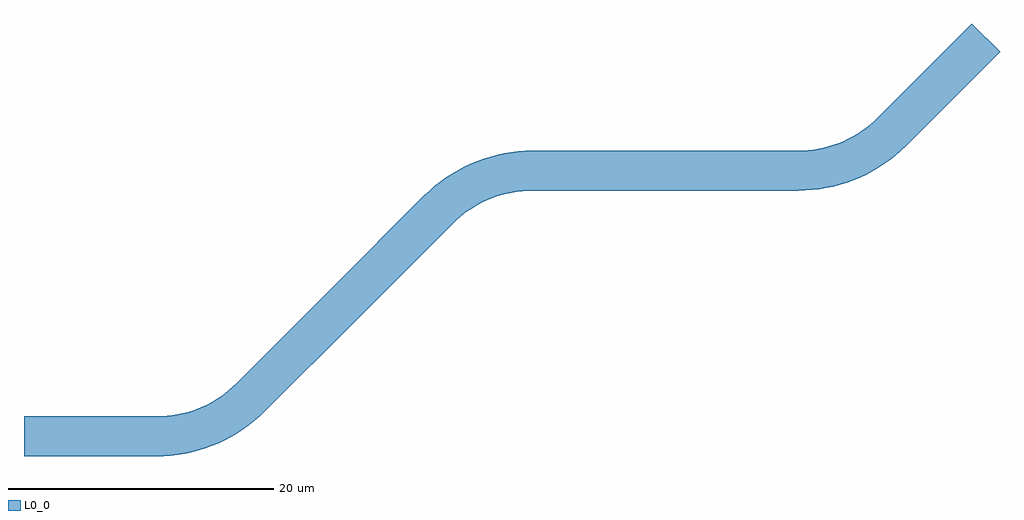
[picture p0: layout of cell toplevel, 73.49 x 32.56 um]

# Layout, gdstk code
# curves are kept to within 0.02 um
from math import pi, radians
import gdstk
lib = gdstk.Library(unit=1e-6, precision=1e-09)
def R(c, l, rs):  # rectangles x0, y0, x1, y1
    for r in rs: c.add(gdstk.rectangle(r[:2], r[2:], *l))
def P(c, l, *ps):  # polygons
    for p in ps: c.add(gdstk.Polygon(p, *l))
L0_0 = (0, 0)

arc = lib.new_cell('arc')
P(arc, L0_0, [(8.5,0),(8.464,0.784),(8.355,1.562),(8.176,2.326),(7.926,3.071),(7.609,3.789),(7.227,4.475),(6.539,5.43),(6.01,6.01),(8.132,8.132),(8.847,7.347),(9.487,6.499),(10.047,5.596),(10.52,4.645),(10.904,3.655),(11.195,2.633),(11.39,1.589),(11.488,0.531),(11.5,0)])

rect = lib.new_cell('rect')
R(rect, L0_0, [(0,0,10,3)])

arc_with_rectangles = lib.new_cell('arc_with_rectangles')
arc_with_rectangles.add(gdstk.Reference(arc, (0,11.5), rotation=3*pi/2))
arc_with_rectangles.add(gdstk.Reference(rect, (-10,0)))
arc_with_rectangles.add(gdstk.Reference(rect, (8.132,3.368), rotation=radians(45)))

toplevel = lib.new_cell('toplevel')
toplevel.add(gdstk.Reference(arc_with_rectangles, (0,0)))
toplevel.add(gdstk.Reference(arc_with_rectangles, (20.153,19.632), rotation=radians(45), x_reflection=True))
toplevel.add(gdstk.Reference(arc_with_rectangles, (48.284,20)))

lib.write_gds('toplevel.gds')
